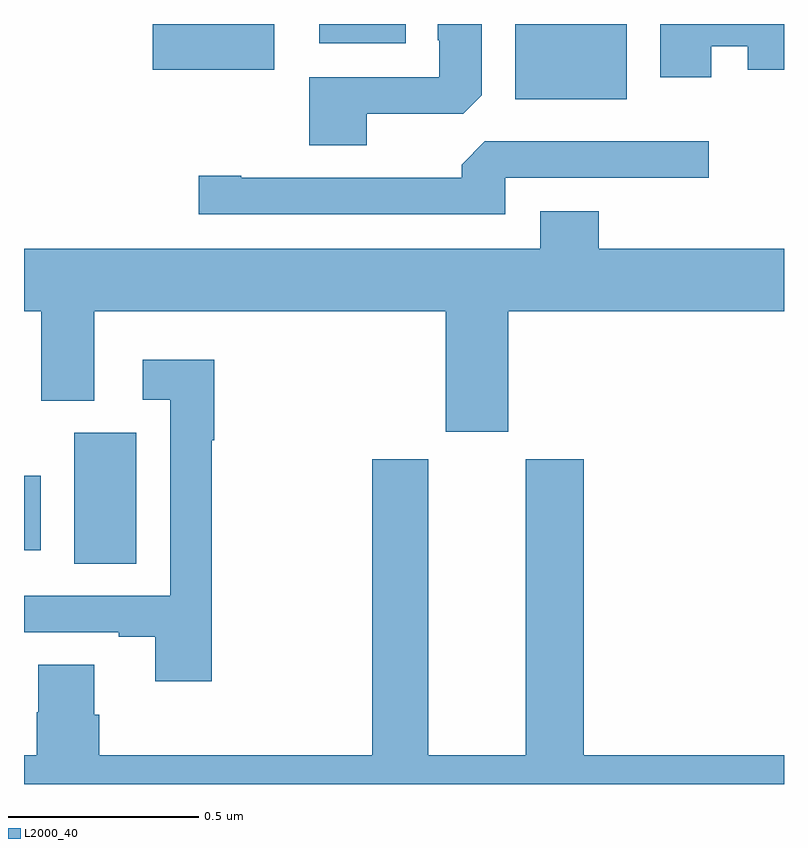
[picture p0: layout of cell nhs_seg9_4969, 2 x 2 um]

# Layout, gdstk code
import gdstk
lib = gdstk.Library(unit=1e-6, precision=1e-09)
def R(c, l, rs):  # rectangles x0, y0, x1, y1
    for r in rs: c.add(gdstk.rectangle(r[:2], r[2:], *l))
def P(c, l, *ps):  # polygons
    for p in ps: c.add(gdstk.Polygon(p, *l))
L2000_40 = (2000, 40)

nhs_seg9_4969 = lib.new_cell('nhs_seg9_4969')
R(nhs_seg9_4969, L2000_40, [(173.132,1205.08,173.296,1205.424), (173,1205.115,173.044,1205.311), (174.293,1206.302,174.586,1206.5), (173.339,1206.38,173.659,1206.5), (173.777,1206.449,174.004,1206.5)])
P(nhs_seg9_4969, L2000_40, [(174.808,1206.442),(174.905,1206.442),(174.905,1206.38),(175,1206.38),(175,1206.5),(174.674,1206.5),(174.674,1206.36),(174.808,1206.36)],
  [(173.902,1206.264),(174.156,1206.264),(174.205,1206.313),(174.205,1206.5),(174.089,1206.5),(174.089,1206.457),(174.093,1206.457),(174.093,1206.36),(173.75,1206.36),(173.75,1206.181),(173.902,1206.181)],
  [(174.267,1206.096),(174.802,1206.096),(174.802,1206.192),(174.213,1206.192),(174.152,1206.13),(174.152,1206.096),(173.572,1206.096),(173.572,1206.101),(173.46,1206.101),(173.46,1206),(174.267,1206)],
  [(174.274,1205.744),(175,1205.744),(175,1205.908),(174.512,1205.908),(174.512,1206.007),(174.359,1206.007),(174.359,1205.908),(173,1205.908),(173,1205.744),(173.045,1205.744),(173.045,1205.509),(173.185,1205.509),(173.185,1205.744),(174.11,1205.744),(174.11,1205.427),(174.274,1205.427)],
  [(173.494,1205.404),(173.501,1205.404),(173.501,1205.617),(173.313,1205.617),(173.313,1205.511),(173.385,1205.511),(173.385,1204.995),(173,1204.995),(173,1204.899),(173.249,1204.899),(173.249,1204.887),(173.345,1204.887),(173.345,1204.77),(173.494,1204.77)],
  [(175,1204.576),(174.473,1204.576),(174.473,1205.355),(174.32,1205.355),(174.32,1204.576),(174.064,1204.576),(174.064,1205.355),(173.917,1205.355),(173.917,1204.576),(173.198,1204.576),(173.198,1204.682),(173.185,1204.682),(173.185,1204.814),(173.038,1204.814),(173.038,1204.689),(173.033,1204.689),(173.033,1204.576),(173,1204.576),(173,1204.5),(175,1204.5)])

lib.write_gds('nhs_seg9_4969.gds')
